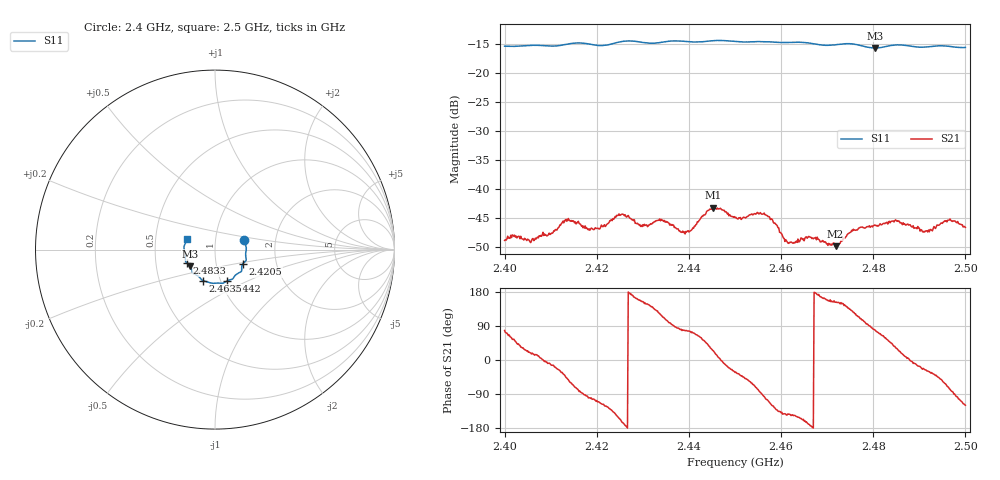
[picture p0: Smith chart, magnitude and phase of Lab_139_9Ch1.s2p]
# Hz S RI R 50
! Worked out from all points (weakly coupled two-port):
!   601 points, 2.4 GHz to 2.5 GHz, reference 50 ohm
!   highest |S21| = -43.20 dB at 2.4452 GHz (marker M1); lowest = -49.8 dB at 2.4718 GHz (marker M2)
!   lowest |S11| = -15.6 dB at 2.4803 GHz (marker M3), VSWR 1.40, Z = 37.4 - j7.22 ohm
!   |S11| at or under -10 dB: start of sweep to end of sweep
!   S12 and S22 are empty: the file has one direction only
!   S11 on the Smith chart (normalised r, x): 2.4 GHz: 1.38, +0.15; 2.4205 GHz: 1.35, -0.22; 2.442 GHz: 1.08, -0.39; 2.4635 GHz: 0.83, -0.30; 2.4833 GHz: 0.72, -0.11; 2.5 GHz: 0.72, +0.09
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2.4e9  0.1638 0.0517  0.000762 0.00353  0 0  0 0
2.406e9  0.1747 0.0099  0.00354 0.00116  0 0  0 0
2.4135e9  0.1726 -0.0462  0.00356 -0.0039  0 0  0 0
2.416667e9  0.1721 -0.0623  0.000307 -0.0048  0 0  0 0
2.4205e9  0.1549 -0.0797  -0.00162 -0.00423  0 0  0 0
2.425167e9  0.1488 -0.1144  -0.00552 -0.00226  0 0  0 0
2.429667e9  0.1341 -0.1288  -0.00444 0.002  0 0  0 0
2.433333e9  0.1091 -0.1479  -0.00315 0.00438  0 0  0 0
2.438667e9  0.0916 -0.1664  0.000811 0.00427  0 0  0 0
2.442e9  0.0693 -0.1735  0.00231 0.00467  0 0  0 0
2.445167e9  0.0505 -0.1848  0.00625 0.00297  0 0  0 0
2.45e9  0.0264 -0.1869  0.00478 -0.00308  0 0  0 0
2.4565e9  -0.0182 -0.1874  -0.000953 -0.00594  0 0  0 0
2.461167e9  -0.0511 -0.1777  -0.00294 -0.00204  0 0  0 0
2.4635e9  -0.0655 -0.1739  -0.00299 -0.00176  0 0  0 0
2.466667e9  -0.0776 -0.1642  -0.00374 -0.000262  0 0  0 0
2.471833e9  -0.1106 -0.138  -0.00285 0.00149  0 0  0 0
2.480333e9  -0.1368 -0.0939  0.000912 0.00482  0 0  0 0
2.483333e9  -0.1556 -0.0748  0.00334 0.004  0 0  0 0
2.491333e9  -0.1682 -0.015  0.0039 -0.00192  0 0  0 0
2.496333e9  -0.17 0.0246  0.00166 -0.00514  0 0  0 0
2.5e9  -0.157 0.0591  -0.00229 -0.00407  0 0  0 0
